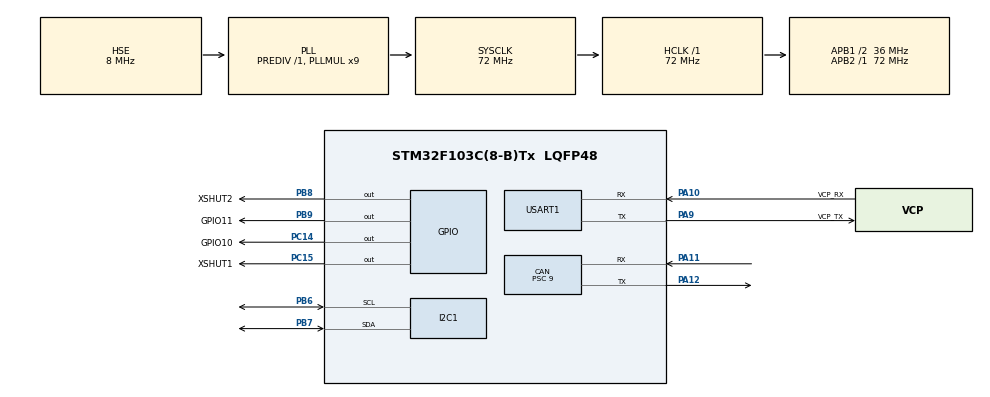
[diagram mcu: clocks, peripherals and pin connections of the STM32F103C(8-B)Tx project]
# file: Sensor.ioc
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CAN.BS1=CAN_BS1_3TQ
CAN.BS2=CAN_BS2_4TQ
CAN.CalculateBaudRate=500000
CAN.CalculateTimeBit=2000
CAN.CalculateTimeQuantum=250.0
CAN.Prescaler=9
Mcu.Family=STM32F1
Mcu.Name=STM32F103C(8-B)Tx
Mcu.Package=LQFP48
NVIC.PriorityGroup=NVIC_PRIORITYGROUP_4
PA10.GPIO_Label=VCP_RX
PA10.Mode=Asynchronous
PA10.Signal=USART1_RX
PA11.Mode=CAN_Activate
PA11.Signal=CAN_RX
PA12.Mode=CAN_Activate
PA12.Signal=CAN_TX
PA9.GPIO_Label=VCP_TX
PA9.Mode=Asynchronous
PA9.Signal=USART1_TX
PB6.Mode=I2C
PB6.Signal=I2C1_SCL
PB7.Mode=I2C
PB7.Signal=I2C1_SDA
PB8.GPIO_Label=XSHUT2
PB8.Signal=GPIO_Output
PB9.GPIO_Label=GPIO11
PB9.Signal=GPIO_Output
PC14-OSC32_IN.GPIO_Label=GPIO10
PC14-OSC32_IN.Signal=GPIO_Output
PC15-OSC32_OUT.GPIO_Label=XSHUT1
PC15-OSC32_OUT.Signal=GPIO_Output
PD0-OSC_IN.Mode=HSE-External-Oscillator
PD0-OSC_IN.Signal=RCC_OSC_IN
PD1-OSC_OUT.Mode=HSE-External-Oscillator
PD1-OSC_OUT.Signal=RCC_OSC_OUT
ProjectManager.HeapSize=0x200
ProjectManager.StackSize=0x400
ProjectManager.TargetToolchain=STM32CubeIDE
RCC.AHBFreq_Value=72000000
RCC.APB1CLKDivider=RCC_HCLK_DIV2
RCC.APB1Freq_Value=36000000
RCC.APB1TimFreq_Value=72000000
RCC.APB2Freq_Value=72000000
RCC.APB2TimFreq_Value=72000000
RCC.HCLKFreq_Value=72000000
RCC.PLLMUL=RCC_PLL_MUL9
RCC.PLLSourceVirtual=RCC_PLLSOURCE_HSE
RCC.SYSCLKFreq_VALUE=72000000
RCC.SYSCLKSource=RCC_SYSCLKSOURCE_PLLCLK
RCC.USBFreq_Value=72000000
USART1.VirtualMode=VM_ASYNC
VP_SYS_VS_ND.Mode=No_Debug
board=custom

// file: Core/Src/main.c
/* USER CODE BEGIN Header */
/**
 ******************************************************************************
 * @file           : main.c
 * @brief          : Main program body
 ******************************************************************************
 * @attention
 *
 * Copyright (c) 2024 STMicroelectronics.
 * All rights reserved.
 *
 * This software is licensed under terms that can be found in the LICENSE file
 * in the root directory of this software component.
 * If no LICENSE file comes with this software, it is provided AS-IS.
 *
 ******************************************************************************
 */
/* USER CODE END Header */
#include "main.h"

/* USER CODE BEGIN Includes */
#include "i2c.h"
#include "usart.h"
#include "gpio.h"
#include "stdio.h"
#include "VL53L1X.h"
#include "VL53L1X_api.h"
/* USER CODE END Includes */

CAN_HandleTypeDef hcan;

I2C_HandleTypeDef hi2c1;

UART_HandleTypeDef huart1;

/* USER CODE BEGIN PV */
uint8_t TxData[5];

CAN_TxHeaderTypeDef TxHeader;
uint32_t TxMailbox;
/* USER CODE END PV */

void SystemClock_Config(void);
static void MX_GPIO_Init(void);
static void MX_CAN_Init(void);
static void MX_USART1_UART_Init(void);
static void MX_I2C1_Init(void);

/* USER CODE BEGIN 0 */
static void encodeNumber(uint16_t number, uint8_t index);
static uint8_t crc8(uint8_t *data, uint8_t length);
static uint16_t getDistance(VL53L1X *sensor);
/* USER CODE END 0 */

int main(void)
{

  /* MCU Configuration--------------------------------------------------------*/

  /* Reset of all peripherals, Initializes the Flash interface and the Systick. */
  HAL_Init();

  /* Configure the system clock */
  SystemClock_Config();

  /* Initialize all configured peripherals */
  MX_GPIO_Init();
  MX_CAN_Init();
  MX_USART1_UART_Init();
  MX_I2C1_Init();
  /* USER CODE BEGIN 2 */
	HAL_CAN_Start(&hcan); 	//Bat dau CAN
	//Configure the message
	TxHeader.StdId = 0x012;
	TxHeader.DLC = 5;
	TxHeader.IDE = CAN_ID_STD;
	TxHeader.RTR = CAN_RTR_DATA;

	// init 2 sensors
	VL53L1X sensor1, sensor2;
	TOF_InitStruct(&sensor1, &hi2c1, 0x20, XSHUT1_GPIO_Port,
	XSHUT1_Pin);
	TOF_InitStruct(&sensor2, &hi2c1, 0x26, XSHUT2_GPIO_Port,
	XSHUT2_Pin);

	// Checking sensors, if it's fail, stop the system
	char msg[100];
	VL53L1X *sensors[] = {&sensor1, &sensor2};
	int status = TOF_BootMultipleSensors(sensors, 2);
	if (status != 0) {
		sprintf(msg, "%d", (int) status);
		HAL_UART_Transmit(&huart1, (uint8_t*) msg, 1, 100);
		while (1) { HAL_UART_Transmit(&huart1, (uint8_t*) "ERROR!!", 8, 100);
		}
	}
  /* USER CODE END 2 */

  /* Infinite loop */
  /* USER CODE BEGIN WHILE */
	uint16_t Distance_Left = 0, Distance_Right = 0;
	while (1) {
    /* USER CODE END WHILE */

		/* USER CODE BEGIN 3 */
		// get distance value from sensor
		Distance_Left = getDistance(&sensor1);
		Distance_Right = getDistance(&sensor2);

		// encode distance and store it in TxData
		encodeNumber(Distance_Left, 0);
		encodeNumber(Distance_Right, 2);

		// Store checksum
		TxData[4] = crc8(TxData, 4);

		sprintf(msg, "\n\rLeft: %x%x mm\n\rRight: %x%x mm",
				TxData[1], TxData[0], TxData[3], TxData[2]);

		// Check Sending is successful
		if (HAL_CAN_AddTxMessage(&hcan, &TxHeader, TxData,
				&TxMailbox) == HAL_OK) {
			HAL_UART_Transmit(&huart1, (uint8_t*) msg,
					strlen(msg), 100);
		}
	}
  /* USER CODE END 3 */
}

void SystemClock_Config(void)
{
  RCC_OscInitTypeDef RCC_OscInitStruct = {0};
  RCC_ClkInitTypeDef RCC_ClkInitStruct = {0};

  /** Initializes the RCC Oscillators according to the specified parameters
  * in the RCC_OscInitTypeDef structure.
  */
  RCC_OscInitStruct.OscillatorType = RCC_OSCILLATORTYPE_HSE;
  RCC_OscInitStruct.HSEState = RCC_HSE_ON;
  RCC_OscInitStruct.HSEPredivValue = RCC_HSE_PREDIV_DIV1;
  RCC_OscInitStruct.HSIState = RCC_HSI_ON;
  RCC_OscInitStruct.PLL.PLLState = RCC_PLL_ON;
  RCC_OscInitStruct.PLL.PLLSource = RCC_PLLSOURCE_HSE;
  RCC_OscInitStruct.PLL.PLLMUL = RCC_PLL_MUL9;
  if (HAL_RCC_OscConfig(&RCC_OscInitStruct) != HAL_OK)
  {
    Error_Handler();
  }

  /** Initializes the CPU, AHB and APB buses clocks
  */
  RCC_ClkInitStruct.ClockType = RCC_CLOCKTYPE_HCLK|RCC_CLOCKTYPE_SYSCLK
                              |RCC_CLOCKTYPE_PCLK1|RCC_CLOCKTYPE_PCLK2;
  RCC_ClkInitStruct.SYSCLKSource = RCC_SYSCLKSOURCE_PLLCLK;
  RCC_ClkInitStruct.AHBCLKDivider = RCC_SYSCLK_DIV1;
  RCC_ClkInitStruct.APB1CLKDivider = RCC_HCLK_DIV2;
  RCC_ClkInitStruct.APB2CLKDivider = RCC_HCLK_DIV1;

  if (HAL_RCC_ClockConfig(&RCC_ClkInitStruct, FLASH_LATENCY_2) != HAL_OK)
  {
    Error_Handler();
  }
}

static void MX_CAN_Init(void)
{

  hcan.Instance = CAN1;
  hcan.Init.Prescaler = 9;
  hcan.Init.Mode = CAN_MODE_NORMAL;
  hcan.Init.SyncJumpWidth = CAN_SJW_1TQ;
  hcan.Init.TimeSeg1 = CAN_BS1_3TQ;
  hcan.Init.TimeSeg2 = CAN_BS2_4TQ;
  hcan.Init.TimeTriggeredMode = DISABLE;
  hcan.Init.AutoBusOff = DISABLE;
  hcan.Init.AutoWakeUp = DISABLE;
  hcan.Init.AutoRetransmission = DISABLE;
  hcan.Init.ReceiveFifoLocked = DISABLE;
  hcan.Init.TransmitFifoPriority = DISABLE;
  if (HAL_CAN_Init(&hcan) != HAL_OK)
  {
    Error_Handler();
  }

}

static void MX_I2C1_Init(void)
{

  hi2c1.Instance = I2C1;
  hi2c1.Init.ClockSpeed = 100000;
  hi2c1.Init.DutyCycle = I2C_DUTYCYCLE_2;
  hi2c1.Init.OwnAddress1 = 0;
  hi2c1.Init.AddressingMode = I2C_ADDRESSINGMODE_7BIT;
  hi2c1.Init.DualAddressMode = I2C_DUALADDRESS_DISABLE;
  hi2c1.Init.OwnAddress2 = 0;
  hi2c1.Init.GeneralCallMode = I2C_GENERALCALL_DISABLE;
  hi2c1.Init.NoStretchMode = I2C_NOSTRETCH_DISABLE;
  if (HAL_I2C_Init(&hi2c1) != HAL_OK)
  {
    Error_Handler();
  }

}

static void MX_USART1_UART_Init(void)
{

  huart1.Instance = USART1;
  huart1.Init.BaudRate = 115200;
  huart1.Init.WordLength = UART_WORDLENGTH_8B;
  huart1.Init.StopBits = UART_STOPBITS_1;
  huart1.Init.Parity = UART_PARITY_NONE;
  huart1.Init.Mode = UART_MODE_TX_RX;
  huart1.Init.HwFlowCtl = UART_HWCONTROL_NONE;
  huart1.Init.OverSampling = UART_OVERSAMPLING_16;
  if (HAL_UART_Init(&huart1) != HAL_OK)
  {
    Error_Handler();
  }

}

static void MX_GPIO_Init(void)
{
  GPIO_InitTypeDef GPIO_InitStruct = {0};

  /* GPIO Ports Clock Enable */
  __HAL_RCC_GPIOC_CLK_ENABLE();
  __HAL_RCC_GPIOD_CLK_ENABLE();
  __HAL_RCC_GPIOA_CLK_ENABLE();
  __HAL_RCC_GPIOB_CLK_ENABLE();

  /*Configure GPIO pin Output Level */
  HAL_GPIO_WritePin(GPIOC, GPIO10_Pin|XSHUT1_Pin, GPIO_PIN_RESET);

  /*Configure GPIO pin Output Level */
  HAL_GPIO_WritePin(GPIOB, XSHUT2_Pin|GPIO11_Pin, GPIO_PIN_RESET);

  /*Configure GPIO pins : GPIO10_Pin XSHUT1_Pin */
  GPIO_InitStruct.Pin = GPIO10_Pin|XSHUT1_Pin;
  GPIO_InitStruct.Mode = GPIO_MODE_OUTPUT_PP;
  GPIO_InitStruct.Pull = GPIO_NOPULL;
  GPIO_InitStruct.Speed = GPIO_SPEED_FREQ_LOW;
  HAL_GPIO_Init(GPIOC, &GPIO_InitStruct);

  /*Configure GPIO pins : XSHUT2_Pin GPIO11_Pin */
  GPIO_InitStruct.Pin = XSHUT2_Pin|GPIO11_Pin;
  GPIO_InitStruct.Mode = GPIO_MODE_OUTPUT_PP;
  GPIO_InitStruct.Pull = GPIO_NOPULL;
  GPIO_InitStruct.Speed = GPIO_SPEED_FREQ_LOW;
  HAL_GPIO_Init(GPIOB, &GPIO_InitStruct);

}

/* USER CODE BEGIN 4 */
// Checksum CRC-8 SAE J1850
static uint8_t crc8(uint8_t *data, uint8_t length) {
	uint8_t crc = 0;
	uint8_t polynomial = 0x8C;  // CRC-8 SAE J1850 polynomial

	for (uint8_t i = 0; i < length; i++) {
		crc ^= data[i];
		for (uint8_t j = 8; j; j--) {
			if (crc & 0x80) crc = (crc << 1) ^ polynomial;
			else crc <<= 1;
		}
	}
	return crc;
}

static void encodeNumber(uint16_t number, uint8_t index) {
	TxData[index] = number & 0xFF;
	TxData[index+1] = (number >> 8) & 0xFF;
}

static uint16_t getDistance(VL53L1X *sensor){
	uint16_t distance = TOF_GetDistance(sensor);
	if (distance == 0xFFFF) {
		HAL_Init();
		SystemClock_Config();
		MX_GPIO_Init();
		MX_I2C1_Init();
		MX_USART1_UART_Init();
	}
	distance = TOF_GetDistance(sensor);
	return distance;
}
/* USER CODE END 4 */

void Error_Handler(void)
{
	__disable_irq();
	while (1) {
	}
}
